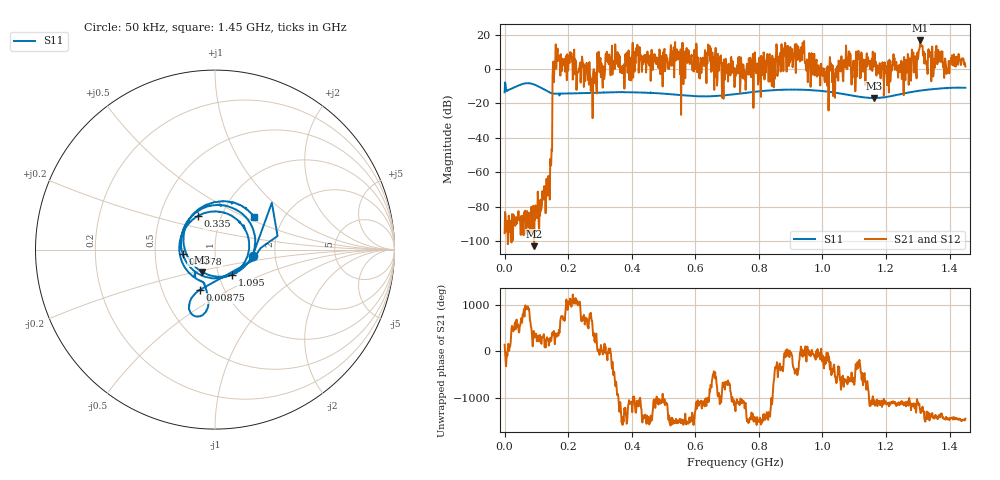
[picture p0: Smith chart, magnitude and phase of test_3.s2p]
! Created with skrf 1.11.0 (http://scikit-rf.org).
# Hz S RI R 50.0
!freq ReS11 ImS11 ReS21 ImS21 ReS12 ImS12 ReS22 ImS22
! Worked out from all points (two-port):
!   1001 points, 50 kHz to 1.45 GHz, reference 50 ohm
!   highest |S21| = 16.55 dB at 1.308 GHz (marker M1); lowest = -102.8 dB at 92.85 MHz (marker M2)
!   |S21| within 3 dB of the highest: 160.881 MHz to 161.0692 MHz (188.2 kHz wide, 0.117 % of centre); 1.310347 GHz to 1.312566 GHz (2.219 MHz wide, 0.169 % of centre) (the widest 2 of 20)
!   lowest |S11| = -16.9 dB at 1.161 GHz (marker M3), VSWR 1.33, Z = 42.2 - j10.7 ohm
!   |S11| at or under -10 dB: start of sweep to 927 kHz; 3.467 MHz to 38.57 MHz (35.1 MHz wide, 167 % of centre); 105 MHz to end of sweep
!   |S22| runs from - to - dB; largest |S21 - S12| = 0
!   S11 on the Smith chart (normalised r, x): 50 kHz: 1.52, -0.12; 8.75 MHz: 0.77, -0.36; 335 MHz: 0.77, +0.30; 717.8 MHz: 0.69, -0.03; 1.095 GHz: 1.16, -0.33; 1.45 GHz: 1.43, +0.57
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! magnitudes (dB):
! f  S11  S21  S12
! 50 kHz  -13.5  -95.3  -95.3
! 8.75 MHz  -12.4  -88.2  -88.2
! 92.85 MHz  -9.0  -102.8  -102.8
! 140.7 MHz  -13.5  -62.9  -62.9
! 159.5 MHz  -14.3  5.0  5.0
! 242.2 MHz  -14.1  1.9  1.9
! 278.4 MHz  -13.9  -2.8  -2.8
! 298.7 MHz  -13.8  -1.9  -1.9
! 335 MHz  -13.6  4.5  4.5
! 484.3 MHz  -14.1  0.5  0.5
! 717.8 MHz  -14.8  4.5  4.5
! 725 MHz  -14.6  0.4  0.4
! 925.1 MHz  -12.0  9.9  9.9
! 967.2 MHz  -12.3  6.6  6.6
! 1.038 GHz  -13.7  -10.4  -10.4
! 1.082 GHz  -15.1  4.7  4.7
! 1.095 GHz  -15.5  -5.1  -5.1
! 1.161 GHz  -16.9  1.3  1.3
! 1.209 GHz  -16.0  -13.7  -13.7
! 1.273 GHz  -13.6  0.3  0.3
! 1.308 GHz  -12.6  16.5  16.5
! 1.45 GHz  -10.9  1.5  1.5
